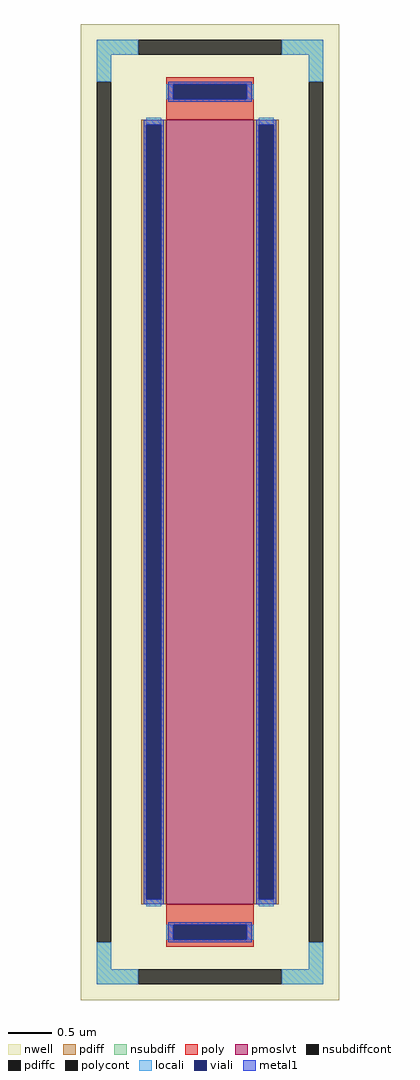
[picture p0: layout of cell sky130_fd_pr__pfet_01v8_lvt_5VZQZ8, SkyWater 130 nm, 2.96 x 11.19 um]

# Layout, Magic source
magic
tech sky130B
magscale 1 2
<< nwell >>
rect -296 -1119 296 1119
<< pmoslvt >>
rect -100 -900 100 900
<< pdiff >>
rect -158 888 -100 900
rect -158 -888 -146 888
rect -112 -888 -100 888
rect -158 -900 -100 -888
rect 100 888 158 900
rect 100 -888 112 888
rect 146 -888 158 888
rect 100 -900 158 -888
<< pdiffc >>
rect -146 -888 -112 888
rect 112 -888 146 888
<< nsubdiff >>
rect -260 1049 -164 1083
rect 164 1049 260 1083
rect -260 987 -226 1049
rect 226 987 260 1049
rect -260 -1049 -226 -987
rect 226 -1049 260 -987
rect -260 -1083 -164 -1049
rect 164 -1083 260 -1049
<< nsubdiffcont >>
rect -164 1049 164 1083
rect -260 -987 -226 987
rect 226 -987 260 987
rect -164 -1083 164 -1049
<< poly >>
rect -100 981 100 997
rect -100 947 -84 981
rect 84 947 100 981
rect -100 900 100 947
rect -100 -947 100 -900
rect -100 -981 -84 -947
rect 84 -981 100 -947
rect -100 -997 100 -981
<< polycont >>
rect -84 947 84 981
rect -84 -981 84 -947
<< locali >>
rect -260 1049 -164 1083
rect 164 1049 260 1083
rect -260 987 -226 1049
rect 226 987 260 1049
rect -100 947 -84 981
rect 84 947 100 981
rect -146 888 -112 904
rect -146 -904 -112 -888
rect 112 888 146 904
rect 112 -904 146 -888
rect -100 -981 -84 -947
rect 84 -981 100 -947
rect -260 -1049 -226 -987
rect 226 -1049 260 -987
rect -260 -1083 -164 -1049
rect 164 -1083 260 -1049
<< viali >>
rect -84 947 84 981
rect -146 -888 -112 888
rect 112 -888 146 888
rect -84 -981 84 -947
<< metal1 >>
rect -96 981 96 987
rect -96 947 -84 981
rect 84 947 96 981
rect -96 941 96 947
rect -152 888 -106 900
rect -152 -888 -146 888
rect -112 -888 -106 888
rect -152 -900 -106 -888
rect 106 888 152 900
rect 106 -888 112 888
rect 146 -888 152 888
rect 106 -900 152 -888
rect -96 -947 96 -941
rect -96 -981 -84 -947
rect 84 -981 96 -947
rect -96 -987 96 -981
<< properties >>
string FIXED_BBOX -243 -1066 243 1066
string gencell sky130_fd_pr__pfet_01v8_lvt
string library sky130
string parameters w 9.0 l 1.0 m 1 nf 1 diffcov 100 polycov 100 guard 1 glc 1 grc 1 gtc 1 gbc 1 tbcov 100 rlcov 100 topc 1 botc 1 poverlap 0 doverlap 1 lmin 0.35 wmin 0.42 compatible {sky130_fd_pr__pfet_01v8  sky130_fd_pr__pfet_01v8_lvt sky130_fd_pr__pfet_01v8_hvt  sky130_fd_pr__pfet_g5v0d10v5} full_metal 1 viasrc 100 viadrn 100 viagate 100 viagb 0 viagr 0 viagl 0 viagt 0
<< end >>
